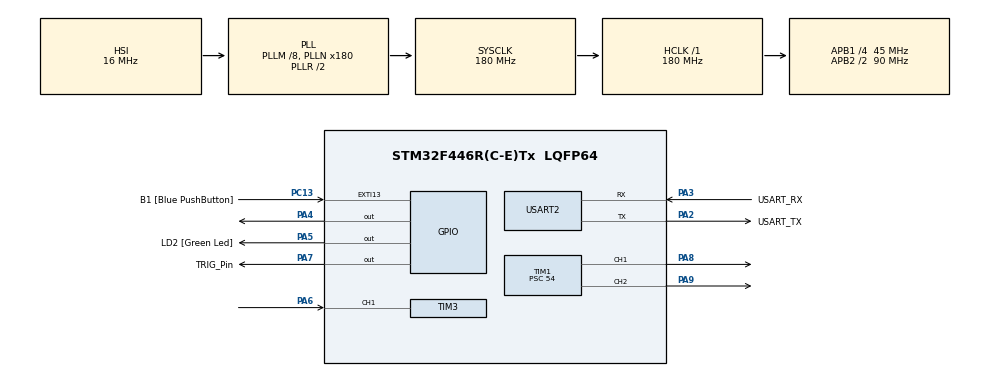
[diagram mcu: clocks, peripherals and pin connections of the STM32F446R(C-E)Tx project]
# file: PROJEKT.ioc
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Dma.Request0=TIM1_CH1
Dma.Request1=TIM1_CH2
Dma.TIM1_CH1.0.Direction=DMA_MEMORY_TO_PERIPH
Dma.TIM1_CH1.0.FIFOMode=DMA_FIFOMODE_DISABLE
Dma.TIM1_CH1.0.Instance=DMA2_Stream1
Dma.TIM1_CH1.0.MemDataAlignment=DMA_MDATAALIGN_WORD
Dma.TIM1_CH1.0.MemInc=DMA_MINC_ENABLE
Dma.TIM1_CH1.0.Mode=DMA_CIRCULAR
Dma.TIM1_CH1.0.PeriphDataAlignment=DMA_PDATAALIGN_WORD
Dma.TIM1_CH1.0.PeriphInc=DMA_PINC_DISABLE
Dma.TIM1_CH1.0.Priority=DMA_PRIORITY_LOW
Dma.TIM1_CH2.1.Direction=DMA_MEMORY_TO_PERIPH
Dma.TIM1_CH2.1.FIFOMode=DMA_FIFOMODE_DISABLE
Dma.TIM1_CH2.1.Instance=DMA2_Stream2
Dma.TIM1_CH2.1.MemDataAlignment=DMA_MDATAALIGN_WORD
Dma.TIM1_CH2.1.MemInc=DMA_MINC_ENABLE
Dma.TIM1_CH2.1.Mode=DMA_CIRCULAR
Dma.TIM1_CH2.1.PeriphDataAlignment=DMA_PDATAALIGN_WORD
Dma.TIM1_CH2.1.PeriphInc=DMA_PINC_DISABLE
Dma.TIM1_CH2.1.Priority=DMA_PRIORITY_LOW
Mcu.Family=STM32F4
Mcu.Name=STM32F446R(C-E)Tx
Mcu.Package=LQFP64
NVIC.DMA2_Stream1_IRQn=true\:0\:0\:false\:false\:true\:false\:true\:true
NVIC.DMA2_Stream2_IRQn=true\:0\:0\:false\:false\:true\:false\:true\:true
NVIC.PriorityGroup=NVIC_PRIORITYGROUP_0
NVIC.TIM3_IRQn=true\:0\:0\:false\:false\:true\:true\:true\:true
NVIC.TIM6_DAC_IRQn=true\:0\:0\:false\:false\:true\:true\:true\:true
NVIC.USART2_IRQn=true\:0\:0\:false\:false\:true\:true\:true\:true
PA13.GPIO_Label=TMS
PA13.Mode=Serial_Wire
PA13.Signal=SYS_JTMS-SWDIO
PA14.GPIO_Label=TCK
PA14.Mode=Serial_Wire
PA14.Signal=SYS_JTCK-SWCLK
PA2.GPIO_Label=USART_TX
PA2.Mode=Asynchronous
PA2.Signal=USART2_TX
PA3.GPIO_Label=USART_RX
PA3.Mode=Asynchronous
PA3.Signal=USART2_RX
PA4.Signal=GPIO_Output
PA5.GPIO_Label=LD2 [Green Led]
PA5.Signal=GPIO_Output
PA6.Signal=S_TIM3_CH1
PA7.GPIO_Label=TRIG_Pin
PA7.Signal=GPIO_Output
PA8.Signal=S_TIM1_CH1
PA9.Signal=S_TIM1_CH2
PB3.GPIO_Label=SWO
PB3.Signal=SYS_JTDO-SWO
PC13.GPIO_Label=B1 [Blue PushButton]
PC13.GPIO_ModeDefaultEXTI=GPIO_MODE_IT_FALLING
PC13.Signal=GPXTI13
PC14-OSC32_IN.Mode=LSE-External-Oscillator
PC14-OSC32_IN.Signal=RCC_OSC32_IN
PC15-OSC32_OUT.Mode=LSE-External-Oscillator
PC15-OSC32_OUT.Signal=RCC_OSC32_OUT
PH0-OSC_IN.Mode=HSE-External-Oscillator
PH0-OSC_IN.Signal=RCC_OSC_IN
PH1-OSC_OUT.Mode=HSE-External-Oscillator
PH1-OSC_OUT.Signal=RCC_OSC_OUT
ProjectManager.HeapSize=0x200
ProjectManager.StackSize=0x400
ProjectManager.TargetToolchain=STM32CubeIDE
RCC.48MHZClocksFreq_Value=84000000
RCC.AHBFreq_Value=180000000
RCC.APB1CLKDivider=RCC_HCLK_DIV4
RCC.APB1Freq_Value=45000000
RCC.APB1TimFreq_Value=90000000
RCC.APB2CLKDivider=RCC_HCLK_DIV2
RCC.APB2Freq_Value=90000000
RCC.APB2TimFreq_Value=180000000
RCC.CortexFreq_Value=180000000
RCC.FLatency-AdvancedSettings=FLASH_LATENCY_5
RCC.HCLKFreq_Value=180000000
RCC.HSE_VALUE=8000000
RCC.HSI_VALUE=16000000
RCC.PLLM=8
RCC.PLLN=180
RCC.SYSCLKFreq_VALUE=180000000
RCC.SYSCLKSource=RCC_SYSCLKSOURCE_PLLRCLK
RCC.USBFreq_Value=180000000
RCC.VCOOutputFreq_Value=360000000
SH.S_TIM1_CH1.0=TIM1_CH1,PWM Generation1 CH1
SH.S_TIM1_CH2.0=TIM1_CH2,PWM Generation2 CH2
SH.S_TIM3_CH1.0=TIM3_CH1,Input_Capture1_from_TI1
TIM1.Channel-PWM\ Generation1\ CH1=TIM_CHANNEL_1
TIM1.Channel-PWM\ Generation2\ CH2=TIM_CHANNEL_2
TIM1.Period=65453
TIM1.Prescaler=54
TIM3.Channel-Input_Capture1_from_TI1=TIM_CHANNEL_1
TIM3.ICPolarity_CH1=TIM_INPUTCHANNELPOLARITY_BOTHEDGE
TIM3.Period=38000
TIM3.Prescaler=44
TIM6.Period=99
TIM6.Prescaler=8399
TIM7.Period=9
TIM7.Prescaler=179
USART2.VirtualMode=VM_ASYNC
VP_TIM1_VS_ClockSourceINT.Mode=Internal
VP_TIM6_VS_ClockSourceINT.Mode=Enable_Timer
VP_TIM7_VS_ClockSourceINT.Mode=Enable_Timer
board=NUCLEO-F446RE

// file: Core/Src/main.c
/* USER CODE BEGIN Header */
/**
  ******************************************************************************
  * @file           : main.c
  * @brief          : Main program body
  ******************************************************************************
  * @attention
  *
  * Copyright (c) 2025 STMicroelectronics.
  * All rights reserved.
  *
  * This software is licensed under terms that can be found in the LICENSE file
  * in the root directory of this software component.
  * If no LICENSE file comes with this software, it is provided AS-IS.
  *
  ******************************************************************************
  */
/* USER CODE END Header */
#include "main.h"

/* USER CODE BEGIN Includes */
#include <stdio.h>
#include <stdint.h>
#include <string.h>
#include <stdarg.h>
#include <ctype.h> // do sprawdzania cyfr
#include <stdbool.h>
#include <math.h>

/* USER CODE END Includes */

/* USER CODE BEGIN PD */

//do czujnika
volatile uint32_t echo_start = 0;
volatile uint32_t echo_end   = 0;
volatile uint8_t  echo_captured = 0; // 0 - czekam na rising, 1 - mam rising, czekam na falling, 2 - pomiar gotowy

typedef enum {
    WAITING_FOR_FLAG = 0,
    READING_FRAME,
    ESCAPING_BYTE
} HDLC_RX_State;

/* USER CODE END PD */

/* USER CODE BEGIN PM */
#define HDLC_FLAG        0x7E
#define HDLC_ESCAPE      0x7D
#define HDLC_ESCAPE_7E   0x5E
#define HDLC_ESCAPE_7D   0x5D

#define HDLC_MIN_FRAME_SIZE 6 // min długość ramki (bez znaków początku i końca oraz puste dane)
#define HDLC_MAX_FRAME_SIZE 3506 //max długość całlkowitej ramki
#define MAX_DATA_LEN 3500 // Max długość danych w ramce

#define BUFFER_SIZE 500 // rozmiar do mojego bufora na dane z czujnika

/* USER CODE END PM */

TIM_HandleTypeDef htim1;
TIM_HandleTypeDef htim3;
TIM_HandleTypeDef htim6;
TIM_HandleTypeDef htim7;
DMA_HandleTypeDef hdma_tim1_ch1;
DMA_HandleTypeDef hdma_tim1_ch2;

UART_HandleTypeDef huart2;

/* USER CODE BEGIN PV */
//do czujnika
#define TRIG_Pin GPIO_PIN_7
#define TRIG_GPIO_Port GPIOA

#define SERVO_MIN_TICKS 3278   // 1ms
#define SERVO_MAX_TICKS 6556   // 2ms

//USART

#define USART_TXBUF_LEN 7014
#define USART_RXBUF_LEN 1428
uint8_t USART_TxBuf[USART_TXBUF_LEN];
uint8_t USART_RxBuf[USART_RXBUF_LEN];

#define MAX_PWM_VALUES 25  // Maksymalna liczba wartości PWM

__IO int USART_TX_Empty=0;
__IO int USART_TX_Busy=0;
__IO int USART_RX_Empty=0;
__IO int USART_RX_Busy=0;

/* USER CODE END PV */

void SystemClock_Config(void);
static void MX_GPIO_Init(void);
static void MX_DMA_Init(void);
static void MX_USART2_UART_Init(void);
static void MX_TIM1_Init(void);
static void MX_TIM3_Init(void);
static void MX_TIM6_Init(void);
static void MX_TIM7_Init(void);

/* USER CODE BEGIN 0 */
uint8_t USART_kbhit(void);
int16_t USART_getchar(void);
uint8_t USART_getline(char *buf);
void    USART_fsend(char* format,...);

uint8_t  computeCRC8(const uint8_t *data, uint16_t length);
void     escapeByte(uint8_t byte, uint8_t *outBuf, uint16_t *outLen, uint16_t outMax);
void HDLC_SendFrame(uint8_t addrSrc, uint8_t addrDst, const uint8_t* data, uint16_t dataLen);
void HDLC_ParseFrame(const uint8_t* frame, uint16_t length);
int8_t HDLC_ProcessInput(void);
static HDLC_RX_State  hdlcRxState = WAITING_FOR_FLAG;
static uint8_t        hdlcInBuf[HDLC_MAX_FRAME_SIZE];
static uint16_t       hdlcInPos = 0;

int32_t pwm_val = 0;

//zmienne globalne dla tych tamtych co mają to

uint8_t addrSrc = 0;
uint8_t addrDst = 0;

typedef struct {
    uint16_t pwm_values[MAX_PWM_VALUES];
    uint16_t current_index;
    uint16_t total_values;
    uint8_t is_running;
    UART_HandleTypeDef* huart;
    TIM_HandleTypeDef* htim;
} PWMHandlerTypeDef;

PWMHandlerTypeDef pwm_handler = {0};

void PWM_DMA_Init(UART_HandleTypeDef* huart, TIM_HandleTypeDef* htim) {
    pwm_handler.huart = huart;
    pwm_handler.htim = htim;
    pwm_handler.current_index = 0;
    pwm_handler.total_values = 0;
    pwm_handler.is_running = 0;

    HAL_TIM_PWM_Stop_DMA(htim, TIM_CHANNEL_1);
    htim->hdma[TIM_DMA_ID_CC1]->Init.Mode = DMA_CIRCULAR;
    HAL_DMA_Init(htim->hdma[TIM_DMA_ID_CC1]);
}

HAL_StatusTypeDef PWM_DMA_AddValue(uint16_t angle) {
    if (angle > 180 || pwm_handler.total_values >= MAX_PWM_VALUES) {
        return HAL_ERROR;
    }

    // zamiana kąta na ticki
    uint32_t pulse_ticks = SERVO_MIN_TICKS +
        ((uint32_t)angle * (SERVO_MAX_TICKS - SERVO_MIN_TICKS) / 180);

    // sprawdzenie czy jest w min max rrange
    if (pulse_ticks < SERVO_MIN_TICKS || pulse_ticks > SERVO_MAX_TICKS) {
        return HAL_ERROR;
    }
    //jest to zabezpieczenie aby uniknąć konfliktu jak DMA chodzi i chcemy dodać wartość
    //stopuje przed dodaniem wartości. Dzięki temu DMA nie będzie jednocześnie odczytywać lub modyfikować bufora, gdy jest dodawana nowa wartość
    if (pwm_handler.is_running = 1){
    	HAL_NVIC_DisableIRQ(DMA2_Stream1_IRQn);
    	pwm_handler.pwm_values[pwm_handler.total_values++] = (uint16_t)pulse_ticks;
        HAL_NVIC_EnableIRQ(DMA2_Stream1_IRQn);
    }
    else{pwm_handler.pwm_values[pwm_handler.total_values++] = (uint16_t)pulse_ticks;}
    return HAL_OK;
}

void PWM_DMA_Start(void) {
    if (pwm_handler.total_values == 0 || pwm_handler.is_running) {
        return;
    }

    // Resetuje index i ustawia flagę że chodzi DMA
    pwm_handler.current_index = 0;
    pwm_handler.is_running = 1;

    // Start PWM z DMA
    HAL_TIM_PWM_Start_DMA(pwm_handler.htim, TIM_CHANNEL_1, (uint32_t*)pwm_handler.pwm_values, pwm_handler.total_values);
}

void PWM_DMA_Stop(void) {
    if (!pwm_handler.is_running) {
        return;
    }

    HAL_TIM_PWM_Stop_DMA(pwm_handler.htim, TIM_CHANNEL_1);
    pwm_handler.is_running = 0;
}

// DMA callback pokazuje który indeks czyli jaka wartość jest teraz używana
void HAL_TIM_PWM_PulseFinishedCallback(TIM_HandleTypeDef *htim) {
    if (htim != pwm_handler.htim || !pwm_handler.is_running) {
        return;
    }

    pwm_handler.current_index = (pwm_handler.current_index + 1) % pwm_handler.total_values;
}

typedef struct {
    uint8_t buffer[BUFFER_SIZE]; // Tablica na dane
    uint16_t head;              // Wskaźnik na miejsce wstawienia nowego elementu
    uint16_t tail;              // Wskaźnik na miejsce odczytu elementu
    uint16_t count;             // Liczba elementów w buforze
} CircularBuffer;

//dodawanie do bufora kołowego wyników
CircularBuffer cb;

// Inicjalizacja bufora
void CircularBuffer_Init(CircularBuffer* cb) {
    cb->head = 0;
    cb->tail = 0;
    cb->count = 0;
}

// Dodanie elementu do bufora
bool CircularBuffer_Put(CircularBuffer* cb, float data) {
    if (cb->count >= BUFFER_SIZE) {
        // full, zacznij od początku
        cb->buffer[cb->head] = data;
        cb->head = (cb->head + 1) % BUFFER_SIZE;
        cb->tail = cb->head; // zawijam tail zeby był za głową
    } else {
        cb->buffer[cb->head] = data;
        cb->head = (cb->head + 1) % BUFFER_SIZE;
        cb->count++;
    }
    return true;
}

// Odczytanie elementu z bufora
bool CircularBuffer_Get(CircularBuffer* cb, float* data) {
    if (cb->count == 0) {
        // Bufor jest pusty
        return false;
    }
    *data = cb->buffer[cb->tail];
    cb->tail = (cb->tail + 1) % BUFFER_SIZE;
    cb->count--;
    return true;
}

// Sprawdzenie, czy bufor jest pusty
uint8_t CircularBuffer_IsEmpty(CircularBuffer* cb) {
    return (cb->count == 0) ? 1 : 0;  // 1 gdy pusty 0 gdy nie
}

// Zwrócenie liczby elementów w buforze
uint16_t CircularBuffer_Size(CircularBuffer* cb) {
    return cb->count;
}

bool CircularBuffer_Peek(const CircularBuffer* cb, uint16_t pos, float* value) {
    if (pos >= cb->count) return false;

    uint16_t actual_pos = (cb->tail + pos) % BUFFER_SIZE;
    *value = cb->buffer[actual_pos];
    return true;
}

void escapeByte(uint8_t byte, uint8_t *outBuf, uint16_t *outLen, uint16_t outMax)
{
if (*outLen >= outMax) return; // zabezpieczenie

if (byte == HDLC_FLAG) //sprawdzam czy bajt to 7E
{
    // 0x7E -> 0x7D 0x5E
    if (*outLen + 2 <= outMax) // jak tak to dodaj 2 bajty dla escapeów
    {
        outBuf[(*outLen)++] = HDLC_ESCAPE;
        outBuf[(*outLen)++] = HDLC_ESCAPE_7E;
    }
}
else if (byte == HDLC_ESCAPE) //7D jest używany do oznaczani ze następny bajt w danych jest zakodowany
{
    // 0x7D -> 0x7D 0x5D
    if (*outLen + 2 <= outMax) //tez dodaje 2 bajty
    {
        outBuf[(*outLen)++] = HDLC_ESCAPE;
        outBuf[(*outLen)++] = HDLC_ESCAPE_7D;
    }
}
else
{
    // normalny bajt
    outBuf[(*outLen)++] = byte;
}
}

uint8_t computeCRC8(const uint8_t *data, uint16_t length) {
    uint8_t crc = 0x00; // zaczynaj od 0x00

    for (uint16_t i = 0; i < length; i++) {
        crc ^= data[i]; // xor obecny bit

        for (uint8_t j = 0; j < 8; j++) {
            if (crc & 0x80) { // sprawdz najważniejszy bit, używamy maski 0x80 (binarnie: 10000000)
                crc = (crc << 1) ^ 0x07; //Przesuń w lewo i xor z polinomial(0x07)
            } else {
                crc <<= 1; // Przesuń w lewo
            }
        }
    }

    return crc;
}

uint8_t USART_kbhit(){
		if(USART_RX_Empty==USART_RX_Busy){
			return 0;
		}else{
			return 1;
		}
	} //Jeśli są równe, oznacza to, że bufor odbiorczy jest pusty i funkcja zwraca 0
	 //Jeśli są różne, oznacza to, że w buforze są dane i funkcja zwraca 1

	int16_t USART_getchar(){
	int16_t tmp;

		if(USART_RX_Empty!=USART_RX_Busy){ //sprawdza czy są dane do odczytu
			 tmp=USART_RxBuf[USART_RX_Busy]; // jeżeli tak to przechowaj bajt w zmiennej tmp
			 USART_RX_Busy++; // przejdź dalej
			 if(USART_RX_Busy >= USART_RXBUF_LEN)USART_RX_Busy=0; //zresetuj, jeżeli osiągnie max rozmiar USART_RXBUF_LEN(bufor do odczytu) czyli nastąpi zapętlenie
			 return tmp;
		}else return -1; //zwraca -1 jeżeli bufor jest pusty
	}

	uint8_t USART_getline(char *buf){ //pobierająca wskaźnik do danego miejsca bufora
	static uint8_t bf[128];
	static uint8_t idx=0; //statyczny index pokazująca aktualną pozycję w buforze bf, przez to,
							//że jest statyczny to nie jest resetowany między wywołaniami funckji
	int i;
	uint8_t ret; //zmienna do przechowywania liczby znaków odebranych
	 while(USART_kbhit()){ //najpierw sprawdza czy jest coś do odczytu
		  bf[idx]=USART_getchar(); //Odczytuje jeden znak z bufora odbiorczego USART za pomocą funkcji USART_getchar() i zapisuje go do bufora bf na pozycji idx

		  if(((bf[idx]==10)||(bf[idx]==13))){ //Jeśli odczytany znak to kod ASCII 10 (newline) lub 13 (carriage return), oznacza to koniec linii
			  	  	  	  	  	  	  	  	  //Ostatni element bufora bf jest ustawiany na 0 (znak końca ciągu) w celu zakończenia łańcucha znaków
			  bf[idx]=0;
			  for(i=0;i<=idx;i++){
				 buf[i]=bf[i];//przekopiuj do bufora
			  }
			  ret=idx;	//Zmienna ret jest ustawiana na wartość idx, aby oznaczać długość odebranej linii
			  idx=0; //Indeks idx jest resetowany do 0, aby przygotować bufor bf do odbioru nowej linii
			  return ret;//odebrano linie
		  }else{//jesli tekst dluzszy to ustawiamy index na początek bufora (zapętlenie)
			  idx++;
			  if(idx>=128)idx=0;
		  }
	  }
	  return 0;
	}//USART_getline

	void USART_fsend(char* format,...){ // służy do wysyłania sformatowanych danych przez interfejs USART z wykorzystaniem bufora kołowego i przerwań
	char tmp_rs[2007]; //Tymczasowy bufor na sformatowane dane do wysłania
	int i; //do iteracji
	__IO int idx; //zmienna wskaźnika indeksu w buforze nadawczym (USART_TXBUFF)
	va_list arglist; //typ do obsługi listy  argumentów
	  va_start(arglist,format); // inicjalizuje listę argumentów zmiennej liczby dla formatowania danych
	  vsprintf(tmp_rs,format,arglist); //formatuje dane wejściowe zgodnie z przekazanym łańcuchem format i argumentami i zapisuje wynik w buforze tymczasowym tmp_rs
	  va_end(arglist); //kończy obsługę argumentów zmiennej liczby
	  idx=USART_TX_Empty; // wskaźnik idx jest ustawiany na aktualną pozycję USART_TX_Empty (wskaźnik indeksu pustego miejsca w buforze nadawczym)
	  for(i=0;i<strlen(tmp_rs);i++){ //iteruje przez całą długość sformatowanych danych
		  USART_TxBuf[idx]=tmp_rs[i]; //zapisuje je do bufora nadawczego
		  idx++; //przesuwa wskaźnik po buforze
		  if(idx >= USART_TXBUF_LEN)idx=0; //jeżeli dojdzie do końca to zresetuj bufor (pozycja początkowa)
	  }
	  __disable_irq(); //wyłącza przerwania, aby zabezpieczyć krytyczną sekcję kodu.
	  if((USART_TX_Empty==USART_TX_Busy)&&(__HAL_UART_GET_FLAG(&huart2,UART_FLAG_TXE)==SET)){//sprawdzic dodatkowo zajetosc bufora nadajnika
		  USART_TX_Empty=idx;
		  uint8_t tmp=USART_TxBuf[USART_TX_Busy];
		  USART_TX_Busy++;
		  if(USART_TX_Busy >= USART_TXBUF_LEN)USART_TX_Busy=0;
		  HAL_UART_Transmit_IT(&huart2, &tmp, 1);
	  }else{
		  USART_TX_Empty=idx;
	  }//    Jeśli wskaźnik USART_TX_Empty jest równy USART_TX_Busy (bufor nadawczy nie jest aktualnie zajęty) i flaga UART_FLAG_TXE jest ustawiona (USART jest gotowy do transmisji), to zaczyna się proces transmisji.
	    //Zmienna USART_TX_Empty jest aktualizowana do nowej pozycji idx.
	    //Pobierany jest pierwszy bajt z bufora USART_TxBuf w pozycji USART_TX_Busy i zapisywany do zmiennej tmp.
	    //USART_TX_Busy jest zwiększany o 1, a jeśli osiągnie USART_TXBUF_LEN, zostaje zresetowany do 0.
	    //HAL_UART_Transmit_IT(&huart2, &tmp, 1); wywołuje funkcję HAL do rozpoczęcia transmisji pierwszego bajtu w trybie przerwań.
	  	  //Jeśli warunek nie jest spełniony, USART_TX_Empty jest aktualizowany do nowego idx.
	  __enable_irq(); //włącza przerwania po zakończeniu krytycznej sekcji
	}//fsend

	void HAL_UART_TxCpltCallback(UART_HandleTypeDef *huart){
	   if(huart==&huart2){
		   if(USART_TX_Empty!=USART_TX_Busy){ // Sprawdza, czy są jeszcze dane w buforze do wysłania. Jeśli wskaźnik USART_TX_Empty różni się od USART_TX_Busy, oznacza to, że bufor nadawczy nie jest pusty.
			   uint8_t tmp=USART_TxBuf[USART_TX_Busy]; // Pobiera kolejny bajt danych do wysłania z bufora USART_TxBuf w pozycji USART_TX_Busy
			   USART_TX_Busy++; //Przeskok do kolejnego bajtu
			   if(USART_TX_Busy >= USART_TXBUF_LEN)USART_TX_Busy=0; // Jeżeli dojdzie do końca resetuj do pozycji początkowej (powrót do 0)
			   HAL_UART_Transmit_IT(&huart2, &tmp, 1); //Rozpoczyna transmisję kolejnego bajtu danych w trybie przerwań
		   }
	   }
	}
	void HAL_UART_RxCpltCallback(UART_HandleTypeDef *huart){
		 if(huart==&huart2){ //Sprawdza, czy przerwanie dotyczy danego interfejsu UART huart2
			 USART_RX_Empty++; //Przesuwa wskaźnik wskazując na następne miejsce w buforze odbiorczym
			 if(USART_RX_Empty>=USART_RXBUF_LEN)USART_RX_Empty=0;// Jeżeli dojdzie do końca resetuj do pozycji początkowej (powrót do 0)
			 HAL_UART_Receive_IT(&huart2,&USART_RxBuf[USART_RX_Empty],1); //Ustawia przerwanie odbioru kolejnego bajtu do bufora USART_RxBuf w pozycji USART_RX_Empty

		 }
	}

// Struktura pakietu
typedef struct {
    uint8_t cmd_type;    // Typ komendy
    uint8_t data_len;    // Długość danych
    uint8_t data[16];    // Dane
} CommandPacket;

//tymczasowy bufor na odp komend później do przesłania HDLC_SendFrame tak jest
uint8_t tempbufanswer[MAX_DATA_LEN];
size_t bufIndex = 0;

// Funkcja do dodawania odpowiedzi do bufora
void addToResponse(uint8_t* data, uint8_t len) {
    if (bufIndex + len <= MAX_DATA_LEN) {
        memcpy(&tempbufanswer[bufIndex], data, len);
        bufIndex += len;
    }
}
// funkcja sprawdzająca, czy bufor odpowiedzi zawiera wyłącznie komunikaty "ERROR "
uint8_t allResponsesAreError(void) {
    if (bufIndex == 0) return 0; // Bufor pusty - nie traktujemy jako same błędy

    // długość nie jest wielokrotnością 6, nie są same bloki "ERROR "
    if (bufIndex % 6 != 0) return 0;

    uint16_t numBlocks = bufIndex / 6;

    for (uint16_t i = 0; i < numBlocks; i++) {
        //ERROR plus spacja
        if (memcmp(&tempbufanswer[i * 6], "ERROR ", 6) != 0)
            return 0; // Znaleziono blok inny niż "ERROR "
    }

    return 1; // Wszystkie bloki to "ERROR "
}

// ---------------- Handler dla SET1 i SET2 ----------------
  static void SET1or2(uint8_t *cmdData, uint16_t length) {
       if (length != 9 || cmdData[length - 1] != ']') {
           uint8_t resp[] = "ERROR";
           addToResponse(resp, sizeof(resp) - 1);
           return;
       }
       uint16_t value = 0;
       for (uint16_t i = 5; i < 8; i++) {
           if (cmdData[i] < '0' || cmdData[i] > '9') {
               if (cmdData[3] == '1') {
                   uint8_t resp[] = "S1 INVALID FORMAT ";
                   addToResponse(resp, sizeof(resp) - 1);
               } else {
                   uint8_t resp[] = "S2 INVALID FORMAT ";
                   addToResponse(resp, sizeof(resp) - 1);
               }
               return;
           }
           value = value * 10 + (cmdData[i] - '0');
       }
       if (value > 180) {
           if (cmdData[3] == '1') {
               uint8_t resp[] = "S1 INVALID FORMAT ";
               addToResponse(resp, sizeof(resp) - 1);
           } else {
               uint8_t resp[] = "S2 INVALID FORMAT ";
               addToResponse(resp, sizeof(resp) - 1);
           }
           return;
       }
       uint16_t pulse_ticks = SERVO_MIN_TICKS + (value * (SERVO_MAX_TICKS - SERVO_MIN_TICKS) / 180);
       if (cmdData[3] == '1') {
           __HAL_TIM_SET_COMPARE(&htim1, TIM_CHANNEL_1, pulse_ticks);
           uint8_t resp[] = "S1 SET ";
           addToResponse(resp, sizeof(resp) - 1);
       } else {
           __HAL_TIM_SET_COMPARE(&htim1, TIM_CHANNEL_2, pulse_ticks);
           uint8_t resp[] = "S2 SET ";
           addToResponse(resp, sizeof(resp) - 1);
       }
   }

   // ---------------- Handler dla ADDDMA ----------------
  static void ADDDMA(uint8_t* cmdData, uint16_t length) {
       if (length != 11 || cmdData[length - 1] != ']') {
           uint8_t resp[] = "DMA INVALID FORMAT";
           addToResponse(resp, sizeof(resp) - 1);
           return;
       }
       uint16_t value = 0;
       for (uint16_t i = 7; i < 10; i++) {
           if (cmdData[i] < '0' || cmdData[i] > '9') {
               uint8_t resp[] = "DMA INVALID FORMAT";
               addToResponse(resp, sizeof(resp) - 1);
               return;
           }
           value = value * 10 + (cmdData[i] - '0');
       }
       if (value > 180) {
           uint8_t resp[] = "DMA INVALID FORMAT";
           addToResponse(resp, sizeof(resp) - 1);
           return;
       }
       HAL_StatusTypeDef status = PWM_DMA_AddValue(value);
       if (status == HAL_OK) {
           uint8_t resp[] = "DMA ADDED";
           addToResponse(resp, sizeof(resp) - 1);
       } else {
           uint8_t resp[] = "DMA INVALID FORMAT";
           addToResponse(resp, sizeof(resp) - 1);
       }
   }

   // ---------------- Handler dla SAUTO ----------------
  static void SAUTO(uint8_t *cmdData, uint16_t length) {
       if (length != 8 || cmdData[length - 1] != ']') {
           uint8_t resp[] = "SAUTO INVALID FORMAT";
           addToResponse(resp, sizeof(resp) - 1);
           return;
       }
       uint8_t param = cmdData[6];
       if (param == '1') {
           PWM_DMA_Start();
           uint8_t resp[] = "SAUTO ON";
           addToResponse(resp, sizeof(resp) - 1);
       } else if (param == '0') {
           PWM_DMA_Stop();
           uint8_t resp[] = "SAUTO OFF";
           addToResponse(resp, sizeof(resp) - 1);
       }
   }

   // ---------------- Handler dla UA? ----------------
  static void UA(uint8_t* cmdData, uint16_t length) {
       uint16_t ms = htim6.Init.Period + 1;
       // Format: "UA " + 4-cyfrowa liczba, bez znaku '\0'
       uint8_t resp[7];
       resp[0] = 'U';
       resp[1] = 'A';
       resp[2] = ' ';
       resp[3] = '0' + (ms / 1000);         // tysiące
       resp[4] = '0' + ((ms % 1000) / 100);   // setki
       resp[5] = '0' + ((ms % 100) / 10);     // dziesiątki
       resp[6] = '0' + (ms % 10);             // jedności
       addToResponse(resp, 7);
   }

   // ---------------- Handler dla UA[xxx] ----------------
  static void UAxxx(uint8_t *cmdData, uint16_t length) {
       if (length != 8 || cmdData[length - 1] != ']') {
           uint8_t resp[] = "ERROR";
           addToResponse(resp, sizeof(resp) - 1);
           return;
       }
       uint16_t value = 0;
       for (uint16_t i = 3; i < 7; i++) {
           if (cmdData[i] < '0' || cmdData[i] > '9') {
               uint8_t resp[] = "ERROR";
               addToResponse(resp, sizeof(resp) - 1);
               return;
           }
           value = value * 10 + (cmdData[i] - '0');
       }
       if (value >= 10 && value <= 1000) {
           SetUltrasonicInterval(value);
           uint8_t resp[] = "UA SET";
           addToResponse(resp, sizeof(resp) - 1);
       }
   }

   // ---------------- Handler dla BUF ----------------
  static void BUF(uint8_t *cmdData, uint16_t length) {
       if (length != 3) {
           uint8_t resp[] = "ERROR";
           addToResponse(resp, sizeof(resp) - 1);
           return;
       }
       if (CircularBuffer_IsEmpty(&cb)) {
           uint8_t resp[] = "NO DATA";
           addToResponse(resp, sizeof(resp) - 1);
           return;
       }
       float value;
       for (int i = 0; i < 20; i++) {
           if (CircularBuffer_Get(&cb, &value)) {
               char temp[16];
               int len = snprintf(temp, sizeof(temp), "%.2f ", value);
               addToResponse((uint8_t*)temp, (uint8_t)len);
           }
       }
   }

   // ---------------- Handler dla BUFALL ----------------
  static void BUFALL(uint8_t *cmdData, uint16_t length) {
       if (length != 6) {
           uint8_t resp[] = "ERROR";
           addToResponse(resp, sizeof(resp) - 1);
           return;
       }
       if (CircularBuffer_IsEmpty(&cb)) {
           uint8_t resp[] = "NO DATA";
           addToResponse(resp, sizeof(resp) - 1);
           return;
       }
       float value;
       while (CircularBuffer_Get(&cb, &value)) {
           char temp[16];
           int len = snprintf(temp, sizeof(temp), "%.2f ", value);
           addToResponse((uint8_t*)temp, (uint8_t)len);
       }
   }

   // ---------------- Handler dla BUFN[xxx,xxx] ----------------
  static void BUFN(uint8_t *cmdData, uint16_t length) {
       // Oczekujemy dokładnie 13 bajtów: "BUFN[xxx,xxx]"
       if (length != 13 || cmdData[length - 1] != ']') {
           uint8_t resp[] = "BUFN INVALID FORMAT";
           addToResponse(resp, sizeof(resp) - 1);
           return;
       }
       if (cmdData[8] != ',') {
           uint8_t resp[] = "BUFN INVALID FORMAT";
           addToResponse(resp, sizeof(resp) - 1);
           return;
       }
       uint16_t start = 0, end = 0;
       for (uint8_t i = 5; i < 8; i++) {
           if (!isdigit(cmdData[i])) {
               uint8_t resp[] = "BUFN INVALID START";
               addToResponse(resp, sizeof(resp) - 1);
               return;
           }
           start = start * 10 + (cmdData[i] - '0');
       }
       for (uint8_t i = 9; i < 12; i++) {
           if (!isdigit(cmdData[i])) {
               uint8_t resp[] = "BUFN INVALID END";
               addToResponse(resp, sizeof(resp) - 1);
               return;
           }
           end = end * 10 + (cmdData[i] - '0');
       }
       if (start > 500 || end > 500 || start > end) {
           uint8_t resp[] = "BUFN INVALID RANGE";
           addToResponse(resp, sizeof(resp) - 1);
           return;
       }
       uint16_t total = CircularBuffer_Size(&cb);
       if (start >= total || end >= total) {
           uint8_t resp[] = "BUFN INVALID RANGE";
           addToResponse(resp, sizeof(resp) - 1);
           return;
       }
       char outStr[32];
       for (uint16_t i = start; i <= end; i++) {
           float value;
           if (CircularBuffer_Peek(&cb, i, &value)) {
               int len = snprintf(outStr, sizeof(outStr), "%.2f ", value);
               addToResponse((uint8_t*)outStr, (uint8_t)len);
           }
       }
   }

void processCommand(uint8_t *cmdData, uint16_t length) {

    if (length >= 5 && ((memcmp(cmdData, "SET1[", 5) == 0) || (memcmp(cmdData, "SET2[", 5) == 0))) {
        SET1or2(cmdData, length);
    } else if (length >= 7 && (memcmp(cmdData, "ADDDMA[", 7) == 0)) {
        ADDDMA(cmdData, length);
    } else if (length >= 6 && (memcmp(cmdData, "SAUTO[", 6) == 0)) {
        SAUTO(cmdData, length);
    } else if (length >= 3 && (memcmp(cmdData, "UA?", 3) == 0)) {
        UA(cmdData, length);
    } else if (length >= 3 && (memcmp(cmdData, "UA[", 3) == 0)) {
        UAxxx(cmdData, length);
    } else if (length >= 6 && (memcmp(cmdData, "BUFALL", 6) == 0)) {
        BUFALL(cmdData, length);
    } else if (length >= 5 && (memcmp(cmdData, "BUFN[", 5) == 0)) {
        BUFN(cmdData, length);
    } else if (length >= 3 && (memcmp(cmdData, "BUF", 3) == 0)) {
        BUF(cmdData, length);
    } else {
        uint8_t resp[] = "ERROR ";
        addToResponse(resp, sizeof(resp) - 1);
    }
}
void processMultipleCommands(uint8_t *cmdData, uint16_t totalLength) {
    uint16_t pos = 0;
    while (pos < totalLength) {
        // Pomijam bajty separatora (0x3B to ';' w ASCII)
        while (pos < totalLength && cmdData[pos] == 0x3B) {
            pos++;
        }
        if (pos >= totalLength)
            break;

        uint16_t start = pos;
        // Szuka separatora lub końca bufora
        while (pos < totalLength && cmdData[pos] != 0x3B) {
            pos++;
        }
        uint16_t cmdLength = pos - start;
        if (cmdLength > 0) {
            processCommand(&cmdData[start], cmdLength);  // Przekazuje surowe bajty
        }
    }
}

void HDLC_ParseFrame(const uint8_t* frame, uint16_t length) {
    if (length < HDLC_MIN_FRAME_SIZE)
        return;

    uint8_t addrSrc = frame[0];
    uint8_t addrDst = frame[1];
    uint16_t dataLen = (frame[2] << 8) | frame[3];

    if (dataLen + 5 > length) {
        uint8_t message[] = "LEN NOT MATCH";
        HDLC_SendFrame(addrSrc, addrDst, message, sizeof(message) - 1);
        return;
    }

    const uint8_t* dataPtr = &frame[4];
    uint8_t crcRecv = frame[4 + dataLen];

    // Przygotowanie bufora do obliczenia CRC
    uint8_t tempBuf[4 + dataLen];
    tempBuf[0] = addrSrc;
    tempBuf[1] = addrDst;
    tempBuf[2] = frame[2];
    tempBuf[3] = frame[3];
    memcpy(&tempBuf[4], dataPtr, dataLen);

    // Oblicz CRC
    uint8_t crcCalc = computeCRC8(tempBuf, 4 + dataLen);
    if (crcCalc != crcRecv) {
        uint8_t message[] = "INVALID CRC";
        HDLC_SendFrame(addrSrc, addrDst, message, sizeof(message) - 1);
        return;
    }

    static uint8_t cmdBuff[MAX_DATA_LEN];
    if (dataLen >= MAX_DATA_LEN)  // Zabezpieczenie przed przepełnieniem
        return;

    uint16_t cmdLen = dataLen;
    memcpy(cmdBuff, dataPtr, cmdLen);

    // Przetwarzam wiele komend oddzielonych średnikiem
    processMultipleCommands(cmdBuff, cmdLen);

    // Jeśli bufor odpowiedzi zawiera same "ERROR", ramka jest odrzucana
    if (!allResponsesAreError()) {
        HDLC_SendFrame(addrSrc, addrDst, tempbufanswer, (uint16_t)bufIndex);

        // Reset bufora
        memset(tempbufanswer, 0, sizeof(tempbufanswer));
        bufIndex = 0;
    }
}

	int8_t HDLC_ProcessInput(void)
	{
	    while (USART_kbhit())
	    {
	        uint8_t rxByte = (uint8_t)USART_getchar();

	        // sprawdzenie czy bufor jest pełny
	        if (hdlcInPos >= HDLC_MAX_FRAME_SIZE)
	           {
	               hdlcRxState = WAITING_FOR_FLAG;
	               hdlcInPos = 0;
	               continue;
	           }

	           switch (hdlcRxState)
	           {
	               case WAITING_FOR_FLAG:
	                   if (rxByte == HDLC_FLAG)
	                   {
	                       // Flaga oznacza początek ramki
	                       hdlcInPos = 0;
	                       hdlcRxState = READING_FRAME;
	                   }
	                   break;

	               case READING_FRAME:
	                   if (rxByte == HDLC_FLAG)
	                   {
	                       // Otrzymano flagę - traktujemy ją jako koniec bieżącej ramki
	                       if (hdlcInPos > 0)
	                       {
	                           HDLC_ParseFrame(hdlcInBuf, hdlcInPos);
	                       }
	                       // Resetuj bufor, ale ustaw stan na READING_FRAME,
	                       // bo ten sam bajt 0x7E ma być traktowany jako początek nowej ramki
	                       hdlcInPos = 0;
	                       hdlcRxState = READING_FRAME;
	                   }
	                   else if (rxByte == HDLC_ESCAPE)
	                   {
	                       hdlcRxState = ESCAPING_BYTE;
	                   }
	                   else
	                   {
	                       hdlcInBuf[hdlcInPos++] = rxByte;
	                   }
	                   break;

	               case ESCAPING_BYTE:
	               {
	                   uint8_t decodedByte;
	                   if (rxByte == HDLC_ESCAPE_7E)
	                       decodedByte = HDLC_FLAG;
	                   else if (rxByte == HDLC_ESCAPE_7D)
	                       decodedByte = HDLC_ESCAPE;
	                   else
	                   {
	                       // Błędna sekwencja escape – odrzucamy ramkę
	                       hdlcRxState = WAITING_FOR_FLAG;
	                       hdlcInPos = 0;
	                       break;
	                   }
	                   hdlcInBuf[hdlcInPos++] = decodedByte;
	                   //powracamy do stanu odbioru ramki
	                   hdlcRxState = READING_FRAME;
	               }
	               break;

	               default:
	                   hdlcRxState = WAITING_FOR_FLAG;
	                   hdlcInPos = 0;
	                   break;
	           }
	       }
	       return 0;
	}

	void HDLC_SendFrame(uint8_t addrSrc, uint8_t addrDst,
	                    const uint8_t* data, uint16_t dataLen)
	{
	    uint8_t outBuf[HDLC_MAX_FRAME_SIZE] = {0};
	    uint16_t outPos = 0;

	    // Dodaj flagę startu
	    outBuf[outPos++] = HDLC_FLAG;

	    // Przygotowanie bufora do obliczenia CRC
	    uint8_t tempBuf[4 + dataLen];
	    tempBuf[0] = addrDst;
	    tempBuf[1] = addrSrc;
	    tempBuf[2] = (uint8_t)(dataLen >> 8);
	    tempBuf[3] = (uint8_t)(dataLen & 0xFF); //0xff = 255 to "filtr" & i pozostawia 8 bitów
	    memcpy(&tempBuf[4], data, dataLen);

	    // Dodaj adresy, długość i dane z escapowaniem
	    escapeByte(addrDst, outBuf, &outPos, HDLC_MAX_FRAME_SIZE);
	    escapeByte(addrSrc, outBuf, &outPos, HDLC_MAX_FRAME_SIZE);
	    escapeByte((uint8_t)(dataLen >> 8), outBuf, &outPos, HDLC_MAX_FRAME_SIZE);
	    escapeByte((uint8_t)(dataLen & 0xFF), outBuf, &outPos, HDLC_MAX_FRAME_SIZE);

	    for (uint16_t i = 0; i < dataLen; i++) {
	        escapeByte(data[i], outBuf, &outPos, HDLC_MAX_FRAME_SIZE);
	    }
	    // Oblicz CRC
	    uint8_t crcVal = computeCRC8(tempBuf, 4 + dataLen);
	    // Dodaj CRC z escapowaniem
	    escapeByte(crcVal, outBuf, &outPos, HDLC_MAX_FRAME_SIZE);

	    // Flaga końca
	    outBuf[outPos++] = HDLC_FLAG;

	    // Wysłanie ramki
	    HAL_UART_Transmit(&huart2, outBuf, outPos, 1000);

	}

	// czujnik

	void HAL_TIM_IC_CaptureCallback(TIM_HandleTypeDef *htim)
	{
	    if (htim->Instance == TIM3 && htim->Channel == HAL_TIM_ACTIVE_CHANNEL_1)
	    {
	        if (echo_captured == 0)
	        {
	            // Pierwsze zbocze narastające start impulsu
	            echo_start = HAL_TIM_ReadCapturedValue(htim, TIM_CHANNEL_1);
	            echo_captured = 1;

	            // Zmień polaryzację na falling
	            __HAL_TIM_SET_CAPTUREPOLARITY(htim, TIM_CHANNEL_1, TIM_ICPOLARITY_FALLING);
	        }
	        else if (echo_captured == 1)
	        {
	            // Drugie zbocze opadające koniec impulsu
	            echo_end = HAL_TIM_ReadCapturedValue(htim, TIM_CHANNEL_1);
	            echo_captured = 2; // pomiar zakończony

	            // Przywróć polaryzację na rising (następny pomiar)
	            __HAL_TIM_SET_CAPTUREPOLARITY(htim, TIM_CHANNEL_1, TIM_ICPOLARITY_RISING);
	        }
	    }
	}

		float dist = 0.0f;

		float GetUltrasonicDistance(void)
		{
			//Jeżeli echo zostało przechwycobe
			if (echo_captured == 2)
			{
				// czas trwania
				uint32_t duration;
				if (echo_end >= echo_start)
					duration = echo_end - echo_start;
				else
				{
					uint32_t arr = __HAL_TIM_GET_AUTORELOAD(&htim3);
					duration = (arr - echo_start + echo_end);
				}

				dist = (float)duration / 58.0f;
				dist = roundf(dist*100.0f)/100.0f; // zaokrąglenie do 2 miejsc

				CircularBuffer_Put(&cb, dist);

				echo_captured = 0; // Reset
				return dist;
			}
			else
			{
				return -1.0f;
			}
		}

	void SetUltrasonicInterval(uint16_t ms) {
	    // Oblicz wartości prescalera i period
	    uint32_t timer_freq = HAL_RCC_GetPCLK1Freq(); // Częstotliwość zegara
	    uint16_t prescaler = (timer_freq / 1000) - 1; // Dzielnik częstotliwości
	    uint16_t period = ms - 1; // Okres

	    htim6.Init.Prescaler = prescaler;
	    htim6.Init.Period = period;

	    HAL_TIM_Base_Init(&htim6);
	}

	void TriggerUltrasonic(void) {
	    // impuls TRIG używając timera
	    HAL_GPIO_WritePin(TRIG_GPIO_Port, TRIG_Pin, GPIO_PIN_SET);
	    HAL_TIM_Base_Start_IT(&htim7);  // skonfigurowany na 10us

	}

	//  przerwania timera
	void HAL_TIM_PeriodElapsedCallback(TIM_HandleTypeDef *htim) {
	    if (htim->Instance == TIM7) {
	        HAL_GPIO_WritePin(TRIG_GPIO_Port, TRIG_Pin, GPIO_PIN_RESET);
	        HAL_TIM_Base_Stop_IT(&htim7);
	    }
	    //  TIM6
	    if (htim->Instance == TIM6) {
	        TriggerUltrasonic();
	    }
	}

/* USER CODE END 0 */

int main(void)
{

  /* MCU Configuration--------------------------------------------------------*/

  /* Reset of all peripherals, Initializes the Flash interface and the Systick. */
  HAL_Init();

  /* Configure the system clock */
  SystemClock_Config();

  /* Initialize all configured peripherals */
  MX_GPIO_Init();
  MX_DMA_Init();
  MX_USART2_UART_Init();
  MX_TIM1_Init();
  MX_TIM3_Init();
  MX_TIM6_Init();
  MX_TIM7_Init();
  /* USER CODE BEGIN 2 */
  HAL_UART_Receive_IT(&huart2,&USART_RxBuf[USART_RX_Empty], 1);
  // Start TIM6 do generowania triggera w czujniku
 	    HAL_TIM_Base_Start_IT(&htim6);

 	    // Start TIM3 Input Capture na chan 1
 	    HAL_TIM_IC_Start_IT(&htim3, TIM_CHANNEL_1); //włącza przerwanie ale w sumie nie wiem czy to tu powinno być w ogóle

 	   // startuje pwm
 	   HAL_TIM_PWM_Start(&htim1, TIM_CHANNEL_1); //servo 1
 	   HAL_TIM_PWM_Start(&htim1, TIM_CHANNEL_2); //servo 2

 		//nie mam pojęcia co się dzieje i jak działają te przerwania ale buja nieźle

  /* USER CODE END 2 */

  /* Infinite loop */
  /* USER CODE BEGIN WHILE */

  while (1)
  {
	  //ServoWiper(); // na testowanie serva

		  HDLC_ProcessInput();

		  //czujnik
		  // żeby działał to trzeba zrobić tigger na high przez minimum 10 us
		  GetUltrasonicDistance();

    /* USER CODE END WHILE */

  }
}

void SystemClock_Config(void)
{
  RCC_OscInitTypeDef RCC_OscInitStruct = {0};
  RCC_ClkInitTypeDef RCC_ClkInitStruct = {0};

  /** Configure the main internal regulator output voltage
  */
  __HAL_RCC_PWR_CLK_ENABLE();
  __HAL_PWR_VOLTAGESCALING_CONFIG(PWR_REGULATOR_VOLTAGE_SCALE1);

  /** Initializes the RCC Oscillators according to the specified parameters
  * in the RCC_OscInitTypeDef structure.
  */
  RCC_OscInitStruct.OscillatorType = RCC_OSCILLATORTYPE_HSI;
  RCC_OscInitStruct.HSIState = RCC_HSI_ON;
  RCC_OscInitStruct.HSICalibrationValue = RCC_HSICALIBRATION_DEFAULT;
  RCC_OscInitStruct.PLL.PLLState = RCC_PLL_ON;
  RCC_OscInitStruct.PLL.PLLSource = RCC_PLLSOURCE_HSI;
  RCC_OscInitStruct.PLL.PLLM = 8;
  RCC_OscInitStruct.PLL.PLLN = 180;
  RCC_OscInitStruct.PLL.PLLP = RCC_PLLP_DIV2;
  RCC_OscInitStruct.PLL.PLLQ = 2;
  RCC_OscInitStruct.PLL.PLLR = 2;
  if (HAL_RCC_OscConfig(&RCC_OscInitStruct) != HAL_OK)
  {
    Error_Handler();
  }

  /** Activate the Over-Drive mode
  */
  if (HAL_PWREx_EnableOverDrive() != HAL_OK)
  {
    Error_Handler();
  }

  /** Initializes the CPU, AHB and APB buses clocks
  */
  RCC_ClkInitStruct.ClockType = RCC_CLOCKTYPE_HCLK|RCC_CLOCKTYPE_SYSCLK
                              |RCC_CLOCKTYPE_PCLK1|RCC_CLOCKTYPE_PCLK2;
  RCC_ClkInitStruct.SYSCLKSource = RCC_SYSCLKSOURCE_PLLRCLK;
  RCC_ClkInitStruct.AHBCLKDivider = RCC_SYSCLK_DIV1;
  RCC_ClkInitStruct.APB1CLKDivider = RCC_HCLK_DIV4;
  RCC_ClkInitStruct.APB2CLKDivider = RCC_HCLK_DIV2;

  if (HAL_RCC_ClockConfig(&RCC_ClkInitStruct, FLASH_LATENCY_5) != HAL_OK)
  {
    Error_Handler();
  }
}

static void MX_TIM1_Init(void)
{

  TIM_ClockConfigTypeDef sClockSourceConfig = {0};
  TIM_MasterConfigTypeDef sMasterConfig = {0};
  TIM_OC_InitTypeDef sConfigOC = {0};
  TIM_BreakDeadTimeConfigTypeDef sBreakDeadTimeConfig = {0};

  htim1.Instance = TIM1;
  htim1.Init.Prescaler = 54;
  htim1.Init.CounterMode = TIM_COUNTERMODE_UP;
  htim1.Init.Period = 65453;
  htim1.Init.ClockDivision = TIM_CLOCKDIVISION_DIV1;
  htim1.Init.RepetitionCounter = 0;
  htim1.Init.AutoReloadPreload = TIM_AUTORELOAD_PRELOAD_DISABLE;
  if (HAL_TIM_Base_Init(&htim1) != HAL_OK)
  {
    Error_Handler();
  }
  sClockSourceConfig.ClockSource = TIM_CLOCKSOURCE_INTERNAL;
  if (HAL_TIM_ConfigClockSource(&htim1, &sClockSourceConfig) != HAL_OK)
  {
    Error_Handler();
  }
  if (HAL_TIM_PWM_Init(&htim1) != HAL_OK)
  {
    Error_Handler();
  }
  sMasterConfig.MasterOutputTrigger = TIM_TRGO_RESET;
  sMasterConfig.MasterSlaveMode = TIM_MASTERSLAVEMODE_DISABLE;
  if (HAL_TIMEx_MasterConfigSynchronization(&htim1, &sMasterConfig) != HAL_OK)
  {
    Error_Handler();
  }
  sConfigOC.OCMode = TIM_OCMODE_PWM1;
  sConfigOC.Pulse = 0;
  sConfigOC.OCPolarity = TIM_OCPOLARITY_HIGH;
  sConfigOC.OCNPolarity = TIM_OCNPOLARITY_HIGH;
  sConfigOC.OCFastMode = TIM_OCFAST_DISABLE;
  sConfigOC.OCIdleState = TIM_OCIDLESTATE_RESET;
  sConfigOC.OCNIdleState = TIM_OCNIDLESTATE_RESET;
  if (HAL_TIM_PWM_ConfigChannel(&htim1, &sConfigOC, TIM_CHANNEL_1) != HAL_OK)
  {
    Error_Handler();
  }
  if (HAL_TIM_PWM_ConfigChannel(&htim1, &sConfigOC, TIM_CHANNEL_2) != HAL_OK)
  {
    Error_Handler();
  }
  sBreakDeadTimeConfig.OffStateRunMode = TIM_OSSR_DISABLE;
  sBreakDeadTimeConfig.OffStateIDLEMode = TIM_OSSI_DISABLE;
  sBreakDeadTimeConfig.LockLevel = TIM_LOCKLEVEL_OFF;
  sBreakDeadTimeConfig.DeadTime = 0;
  sBreakDeadTimeConfig.BreakState = TIM_BREAK_DISABLE;
  sBreakDeadTimeConfig.BreakPolarity = TIM_BREAKPOLARITY_HIGH;
  sBreakDeadTimeConfig.AutomaticOutput = TIM_AUTOMATICOUTPUT_DISABLE;
  if (HAL_TIMEx_ConfigBreakDeadTime(&htim1, &sBreakDeadTimeConfig) != HAL_OK)
  {
    Error_Handler();
  }
  HAL_TIM_MspPostInit(&htim1);

}

static void MX_TIM3_Init(void)
{

  TIM_MasterConfigTypeDef sMasterConfig = {0};
  TIM_IC_InitTypeDef sConfigIC = {0};

  htim3.Instance = TIM3;
  htim3.Init.Prescaler = 44;
  htim3.Init.CounterMode = TIM_COUNTERMODE_UP;
  htim3.Init.Period = 38000;
  htim3.Init.ClockDivision = TIM_CLOCKDIVISION_DIV1;
  htim3.Init.AutoReloadPreload = TIM_AUTORELOAD_PRELOAD_DISABLE;
  if (HAL_TIM_IC_Init(&htim3) != HAL_OK)
  {
    Error_Handler();
  }
  sMasterConfig.MasterOutputTrigger = TIM_TRGO_RESET;
  sMasterConfig.MasterSlaveMode = TIM_MASTERSLAVEMODE_DISABLE;
  if (HAL_TIMEx_MasterConfigSynchronization(&htim3, &sMasterConfig) != HAL_OK)
  {
    Error_Handler();
  }
  sConfigIC.ICPolarity = TIM_INPUTCHANNELPOLARITY_BOTHEDGE;
  sConfigIC.ICSelection = TIM_ICSELECTION_DIRECTTI;
  sConfigIC.ICPrescaler = TIM_ICPSC_DIV1;
  sConfigIC.ICFilter = 0;
  if (HAL_TIM_IC_ConfigChannel(&htim3, &sConfigIC, TIM_CHANNEL_1) != HAL_OK)
  {
    Error_Handler();
  }

}

static void MX_TIM6_Init(void)
{

  TIM_MasterConfigTypeDef sMasterConfig = {0};

  htim6.Instance = TIM6;
  htim6.Init.Prescaler = 8399;
  htim6.Init.CounterMode = TIM_COUNTERMODE_UP;
  htim6.Init.Period = 99;
  htim6.Init.AutoReloadPreload = TIM_AUTORELOAD_PRELOAD_DISABLE;
  if (HAL_TIM_Base_Init(&htim6) != HAL_OK)
  {
    Error_Handler();
  }
  sMasterConfig.MasterOutputTrigger = TIM_TRGO_RESET;
  sMasterConfig.MasterSlaveMode = TIM_MASTERSLAVEMODE_DISABLE;
  if (HAL_TIMEx_MasterConfigSynchronization(&htim6, &sMasterConfig) != HAL_OK)
  {
    Error_Handler();
  }

}

static void MX_TIM7_Init(void)
{

  TIM_MasterConfigTypeDef sMasterConfig = {0};

  htim7.Instance = TIM7;
  htim7.Init.Prescaler = 179;
  htim7.Init.CounterMode = TIM_COUNTERMODE_UP;
  htim7.Init.Period = 9;
  htim7.Init.AutoReloadPreload = TIM_AUTORELOAD_PRELOAD_DISABLE;
  if (HAL_TIM_Base_Init(&htim7) != HAL_OK)
  {
    Error_Handler();
  }
  sMasterConfig.MasterOutputTrigger = TIM_TRGO_RESET;
  sMasterConfig.MasterSlaveMode = TIM_MASTERSLAVEMODE_DISABLE;
  if (HAL_TIMEx_MasterConfigSynchronization(&htim7, &sMasterConfig) != HAL_OK)
  {
    Error_Handler();
  }

}

static void MX_USART2_UART_Init(void)
{

  huart2.Instance = USART2;
  huart2.Init.BaudRate = 115200;
  huart2.Init.WordLength = UART_WORDLENGTH_8B;
  huart2.Init.StopBits = UART_STOPBITS_1;
  huart2.Init.Parity = UART_PARITY_NONE;
  huart2.Init.Mode = UART_MODE_TX_RX;
  huart2.Init.HwFlowCtl = UART_HWCONTROL_NONE;
  huart2.Init.OverSampling = UART_OVERSAMPLING_16;
  if (HAL_UART_Init(&huart2) != HAL_OK)
  {
    Error_Handler();
  }

}

static void MX_DMA_Init(void)
{

  /* DMA controller clock enable */
  __HAL_RCC_DMA2_CLK_ENABLE();

  /* DMA interrupt init */
  /* DMA2_Stream1_IRQn interrupt configuration */
  HAL_NVIC_SetPriority(DMA2_Stream1_IRQn, 0, 0);
  HAL_NVIC_EnableIRQ(DMA2_Stream1_IRQn);
  /* DMA2_Stream2_IRQn interrupt configuration */
  HAL_NVIC_SetPriority(DMA2_Stream2_IRQn, 0, 0);
  HAL_NVIC_EnableIRQ(DMA2_Stream2_IRQn);

}

static void MX_GPIO_Init(void)
{
  GPIO_InitTypeDef GPIO_InitStruct = {0};

  /* GPIO Ports Clock Enable */
  __HAL_RCC_GPIOC_CLK_ENABLE();
  __HAL_RCC_GPIOH_CLK_ENABLE();
  __HAL_RCC_GPIOA_CLK_ENABLE();
  __HAL_RCC_GPIOB_CLK_ENABLE();

  /*Configure GPIO pin Output Level */
  HAL_GPIO_WritePin(GPIOA, GPIO_PIN_4|LD2_Pin|TRIG_Pin_Pin, GPIO_PIN_RESET);

  /*Configure GPIO pin : B1_Pin */
  GPIO_InitStruct.Pin = B1_Pin;
  GPIO_InitStruct.Mode = GPIO_MODE_IT_FALLING;
  GPIO_InitStruct.Pull = GPIO_NOPULL;
  HAL_GPIO_Init(B1_GPIO_Port, &GPIO_InitStruct);

  /*Configure GPIO pins : PA4 LD2_Pin TRIG_Pin_Pin */
  GPIO_InitStruct.Pin = GPIO_PIN_4|LD2_Pin|TRIG_Pin_Pin;
  GPIO_InitStruct.Mode = GPIO_MODE_OUTPUT_PP;
  GPIO_InitStruct.Pull = GPIO_NOPULL;
  GPIO_InitStruct.Speed = GPIO_SPEED_FREQ_LOW;
  HAL_GPIO_Init(GPIOA, &GPIO_InitStruct);

}

void Error_Handler(void)
{
  __disable_irq();
  while (1)
  {
  }
}
